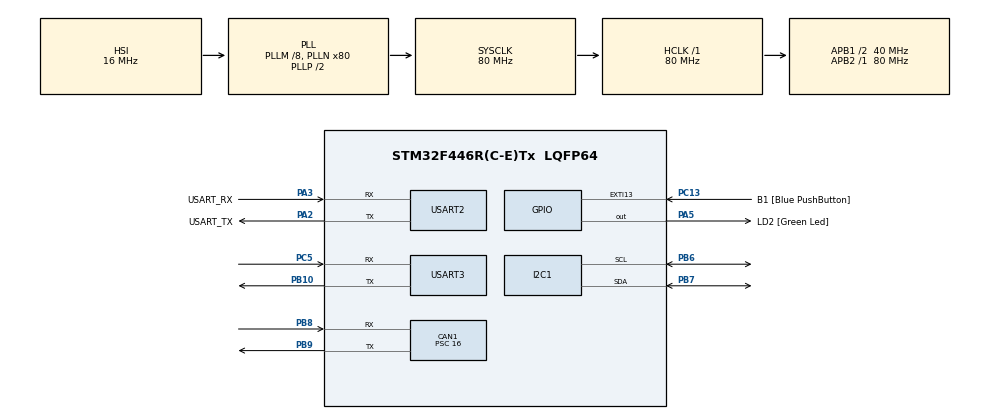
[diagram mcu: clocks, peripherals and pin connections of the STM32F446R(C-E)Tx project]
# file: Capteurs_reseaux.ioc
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CAN1.BS1=CAN_BS1_2TQ
CAN1.BS2=CAN_BS2_2TQ
CAN1.CalculateBaudRate=500000
CAN1.CalculateTimeBit=2000
CAN1.CalculateTimeQuantum=400.0
CAN1.Prescaler=16
Mcu.Family=STM32F4
Mcu.Name=STM32F446R(C-E)Tx
Mcu.Package=LQFP64
NVIC.PriorityGroup=NVIC_PRIORITYGROUP_0
PA13.GPIO_Label=TMS
PA13.Mode=Serial_Wire
PA13.Signal=SYS_JTMS-SWDIO
PA14.GPIO_Label=TCK
PA14.Mode=Serial_Wire
PA14.Signal=SYS_JTCK-SWCLK
PA2.GPIO_Label=USART_TX
PA2.Mode=Asynchronous
PA2.Signal=USART2_TX
PA3.GPIO_Label=USART_RX
PA3.Mode=Asynchronous
PA3.Signal=USART2_RX
PA5.GPIO_Label=LD2 [Green Led]
PA5.Signal=GPIO_Output
PB10.Mode=Asynchronous
PB10.Signal=USART3_TX
PB3.GPIO_Label=SWO
PB3.Signal=SYS_JTDO-SWO
PB6.Mode=I2C
PB6.Signal=I2C1_SCL
PB7.Mode=I2C
PB7.Signal=I2C1_SDA
PB8.Mode=CAN_Activate
PB8.Signal=CAN1_RX
PB9.Mode=CAN_Activate
PB9.Signal=CAN1_TX
PC13.GPIO_Label=B1 [Blue PushButton]
PC13.GPIO_ModeDefaultEXTI=GPIO_MODE_IT_FALLING
PC13.Signal=GPXTI13
PC14-OSC32_IN.Mode=LSE-External-Oscillator
PC14-OSC32_IN.Signal=RCC_OSC32_IN
PC15-OSC32_OUT.Mode=LSE-External-Oscillator
PC15-OSC32_OUT.Signal=RCC_OSC32_OUT
PC5.Mode=Asynchronous
PC5.Signal=USART3_RX
PH0-OSC_IN.Mode=HSE-External-Oscillator
PH0-OSC_IN.Signal=RCC_OSC_IN
PH1-OSC_OUT.Mode=HSE-External-Oscillator
PH1-OSC_OUT.Signal=RCC_OSC_OUT
ProjectManager.HeapSize=0x200
ProjectManager.StackSize=0x400
ProjectManager.TargetToolchain=STM32CubeIDE
RCC.48MHZClocksFreq_Value=84000000
RCC.AHBFreq_Value=80000000
RCC.APB1CLKDivider=RCC_HCLK_DIV2
RCC.APB1Freq_Value=40000000
RCC.APB1TimFreq_Value=80000000
RCC.APB2Freq_Value=80000000
RCC.APB2TimFreq_Value=80000000
RCC.CortexFreq_Value=80000000
RCC.FLatency-AdvancedSettings=FLASH_LATENCY_2
RCC.HCLKFreq_Value=80000000
RCC.HSE_VALUE=8000000
RCC.HSI_VALUE=16000000
RCC.PLLM=8
RCC.PLLN=80
RCC.SYSCLKFreq_VALUE=80000000
RCC.SYSCLKSource=RCC_SYSCLKSOURCE_PLLCLK
RCC.USBFreq_Value=80000000
RCC.VCOOutputFreq_Value=160000000
USART2.VirtualMode=VM_ASYNC
USART3.VirtualMode=VM_ASYNC
board=NUCLEO-F446RE

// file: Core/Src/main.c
/* USER CODE BEGIN Header */
/**
  ******************************************************************************
  * @file           : main.c
  * @brief          : Main program body
  ******************************************************************************
  * @attention
  *
  * Copyright (c) 2022 STMicroelectronics.
  * All rights reserved.
  *
  * This software is licensed under terms that can be found in the LICENSE file
  * in the root directory of this software component.
  * If no LICENSE file comes with this software, it is provided AS-IS.
  *
  ******************************************************************************
  */
/* USER CODE END Header */
#include "main.h"
#include "can.h"
#include "i2c.h"
#include "usart.h"
#include "gpio.h"

/* USER CODE BEGIN Includes */
#include "BMP280_simple.h"

/* USER CODE END Includes */

/* USER CODE BEGIN PTD */
typedef uint32_t BMP280_U32_t;
typedef int32_t BMP280_S32_t;
typedef int64_t BMP280_S64_t;
/* USER CODE END PTD */

void SystemClock_Config(void);

/* USER CODE BEGIN 0 */

//int __io_putchar(int ch1)
//{
//	int ch2;
//	HAL_UART_Transmit(&huart2, (uint8_t *)&ch1, 1, 0xFFFF);
//	HAL_UART_Receive(&huart3, (uint8_t *)&ch2, 1, 0xFFFF);
//	return ch2;
//}
int __io_putchar(int ch)
{
	HAL_UART_Transmit(&huart2, (uint8_t *)&ch, 1, 0xFFFF);
	return ch;
}

#define Slave_Add_BMP280 0b1110111

#define ctrl_meas 0xF4
#define status 0xF3
#define ID 0xD0
#define temp_msb 0xFA		//!< 1 octet
#define temp_lsb 0xFB		//!< 1 octet
#define temp_xlsb 0xFC		//!< 4bits
#define addr_dig1 0x88
#define addr_dig3 0x8A
#define addr_dig2 0x8C
#define timeout 50
#define calib_data 0x88

/* USER CODE END 0 */

int main(void)
{
  /* USER CODE BEGIN 1 */
CAN_TxHeaderTypeDef pHeader_can1_moteur;

pHeader_can1_moteur.StdId = 0x61;
pHeader_can1_moteur.ExtId = 0;
pHeader_can1_moteur.IDE = CAN_ID_STD;
pHeader_can1_moteur.RTR = CAN_RTR_DATA;
pHeader_can1_moteur.DLC = 2;
pHeader_can1_moteur.TransmitGlobalTime = DISABLE;

uint32_t ptxmailbox;
uint8_t rotpos[2] = {0x5A,0x00};
uint8_t rotneg[2] = {0x5A,0x01};

  /* USER CODE END 1 */

  /* MCU Configuration--------------------------------------------------------*/

  /* Reset of all peripherals, Initializes the Flash interface and the Systick. */
  HAL_Init();

  /* Configure the system clock */
  SystemClock_Config();

  /* Initialize all configured peripherals */
  MX_GPIO_Init();
  MX_USART2_UART_Init();
  MX_USART3_UART_Init();
  MX_CAN1_Init();
  MX_I2C1_Init();
  /* USER CODE BEGIN 2 */
  HAL_I2C_Init(&hi2c1);
  uint8_t pData = 0b01010111; 				//!< "010" temp x2 sample "101" pres x16 sample "11" normal mode
  uint8_t Ident = 0;
  uint8_t cal_data[24] = {0};
  uint16_t cal_data_test = 0;
  uint8_t adata1 = 0;
  uint8_t adata2 = 0;
  uint8_t adata3 = 0;
  uint16_t dig_T1 = 0;
  signed short dig_T2 = 0;
  signed short dig_T3 = 0;
  BMP280_S32_t t_fine;

  // Calibration read & write

  if(HAL_OK != HAL_I2C_Mem_Read(&hi2c1, Slave_Add_BMP280 << 1, ID, 1, &Ident, sizeof(Ident), timeout)){
  	  printf("Error_ID\r\n");
    }
  else{
	  printf("ID: %d\r\n",Ident);
  }
  HAL_Delay(500);
  if(HAL_OK != HAL_I2C_Mem_Write(&hi2c1, Slave_Add_BMP280 << 1, ctrl_meas, 1, &pData, sizeof(pData), timeout)){
	  printf("Error_ctrl_meas\r\n");
  }
  else {
	  printf("All good, ctrl_meas param are set \r\n");
  }

  HAL_Delay(500);
  if(HAL_OK != HAL_I2C_Mem_Read(&hi2c1, Slave_Add_BMP280 << 1, calib_data, 1, &cal_data, sizeof(cal_data), timeout)){
   	  printf("Error Calibration transmission\r\n");
   	  HAL_Delay(2000);
     }
  else {
	  printf("All good, nothing to notice about calibration\r\n");
  }

  HAL_Delay(500);
  HAL_CAN_Init(&hcan1);
  HAL_CAN_Start(&hcan1);

//******************************* Usage des codes fournis*****************************************************
  printf("\r\nChecking for BMP280\r\n");
  BMP280_check();
  printf("\r\nConfigure BMP280\r\n");
  BMP280_init();
  HAL_Delay(500);
//*********************************************************************************************************

  /* USER CODE END 2 */

  /* Infinite loop */
  /* USER CODE BEGIN WHILE */
  while (1)
  {
	  //******************************* Notre code*****************************************************************
	  HAL_I2C_Mem_Read(&hi2c1, Slave_Add_BMP280 << 1, temp_msb, 1, &adata1, 1, timeout);
	  HAL_I2C_Mem_Read(&hi2c1, Slave_Add_BMP280 << 1, temp_lsb, 1, &adata2, 1, timeout);
	  HAL_I2C_Mem_Read(&hi2c1, Slave_Add_BMP280 << 1, temp_xlsb, 1, &adata3, 1, timeout);

	  HAL_Delay(100);
	  printf("data 0 :%d\r\n",adata1);
	  printf("data 1 :%d\r\n",adata2);
	  printf("data 2 :%d\r\n",adata3);
	  HAL_Delay(100);

//	  uint32_t data_temp = ((adata1 << 11) | (adata1 << 3) | adata3) & 0xFF;  // on les réunit

	//******************************* Usage des codes fournis*****************************************************

	  int temp= BMP280_get_temperature();
	  printf("Température: %d\r\n",temp);
	  int press= BMP280_get_pressure();
	  printf("Pression: %d\r\n",press);
	  HAL_Delay(1000);

	  HAL_I2C_Mem_Read(&hi2c1, Slave_Add_BMP280 << 1, addr_dig1, 1, &dig_T1, 2, timeout);
	  HAL_I2C_Mem_Read(&hi2c1, Slave_Add_BMP280 << 1, addr_dig2, 1, &dig_T2, 2, timeout);
	  HAL_I2C_Mem_Read(&hi2c1, Slave_Add_BMP280 << 1, addr_dig3, 1, &dig_T3, 2, timeout);

	  BMP280_S32_t var1, var2, T;
	  var1 = ((((temp>>3)-((BMP280_S32_t) dig_T1>>1)))*((BMP280_S32_t)dig_T2))>>11;
	  var2 = (((((temp>>4)-((BMP280_S32_t) dig_T1))*((temp>>4)-((BMP280_S32_t)dig_T1)))>>12)*((BMP280_S32_t)dig_T3))>>14;
	  t_fine=var1+var2;
	  T=(t_fine*5+128)>>8;
	  printf("Température compensée: %ld\r\n",T);

	  //*********************************************************************************************************

//	  uint8_t rot = data_temp * 360/2^(20);
// Le moteur tourne de 2xT  (sinon angle trop petit)
	   rotpos[0] = T/5;
	   rotneg[0] = T/5;
	  HAL_CAN_AddTxMessage(&hcan1, &pHeader_can1_moteur, rotpos, &ptxmailbox);
	  HAL_Delay(1000);
	  HAL_CAN_AddTxMessage(&hcan1, &pHeader_can1_moteur, rotneg, &ptxmailbox);
	  HAL_Delay(1000);
    /* USER CODE END WHILE */

  }
}

void SystemClock_Config(void)
{
  RCC_OscInitTypeDef RCC_OscInitStruct = {0};
  RCC_ClkInitTypeDef RCC_ClkInitStruct = {0};

  /** Configure the main internal regulator output voltage
  */
  __HAL_RCC_PWR_CLK_ENABLE();
  __HAL_PWR_VOLTAGESCALING_CONFIG(PWR_REGULATOR_VOLTAGE_SCALE3);

  /** Initializes the RCC Oscillators according to the specified parameters
  * in the RCC_OscInitTypeDef structure.
  */
  RCC_OscInitStruct.OscillatorType = RCC_OSCILLATORTYPE_HSI;
  RCC_OscInitStruct.HSIState = RCC_HSI_ON;
  RCC_OscInitStruct.HSICalibrationValue = RCC_HSICALIBRATION_DEFAULT;
  RCC_OscInitStruct.PLL.PLLState = RCC_PLL_ON;
  RCC_OscInitStruct.PLL.PLLSource = RCC_PLLSOURCE_HSI;
  RCC_OscInitStruct.PLL.PLLM = 8;
  RCC_OscInitStruct.PLL.PLLN = 80;
  RCC_OscInitStruct.PLL.PLLP = RCC_PLLP_DIV2;
  RCC_OscInitStruct.PLL.PLLQ = 2;
  RCC_OscInitStruct.PLL.PLLR = 2;
  if (HAL_RCC_OscConfig(&RCC_OscInitStruct) != HAL_OK)
  {
    Error_Handler();
  }

  /** Initializes the CPU, AHB and APB buses clocks
  */
  RCC_ClkInitStruct.ClockType = RCC_CLOCKTYPE_HCLK|RCC_CLOCKTYPE_SYSCLK
                              |RCC_CLOCKTYPE_PCLK1|RCC_CLOCKTYPE_PCLK2;
  RCC_ClkInitStruct.SYSCLKSource = RCC_SYSCLKSOURCE_PLLCLK;
  RCC_ClkInitStruct.AHBCLKDivider = RCC_SYSCLK_DIV1;
  RCC_ClkInitStruct.APB1CLKDivider = RCC_HCLK_DIV2;
  RCC_ClkInitStruct.APB2CLKDivider = RCC_HCLK_DIV1;

  if (HAL_RCC_ClockConfig(&RCC_ClkInitStruct, FLASH_LATENCY_2) != HAL_OK)
  {
    Error_Handler();
  }
}

void Error_Handler(void)
{
  __disable_irq();
  while (1)
  {
  }
}
